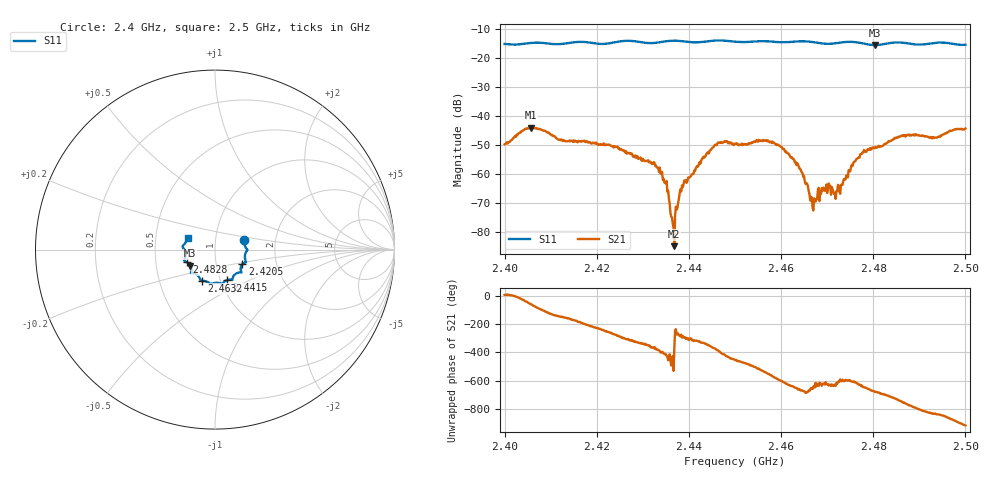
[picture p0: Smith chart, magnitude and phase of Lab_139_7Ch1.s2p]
# Hz S RI R 50
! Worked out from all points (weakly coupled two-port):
!   601 points, 2.4 GHz to 2.5 GHz, reference 50 ohm
!   highest |S21| = -44.12 dB at 2.4057 GHz (marker M1); lowest = -85.0 dB at 2.4368 GHz (marker M2)
!   lowest |S11| = -15.7 dB at 2.4803 GHz (marker M3), VSWR 1.39, Z = 37.4 - j6.85 ohm
!   |S11| at or under -10 dB: start of sweep to end of sweep
!   S12 and S22 are empty: the file has one direction only
!   S11 on the Smith chart (normalised r, x): 2.4 GHz: 1.38, +0.15; 2.4205 GHz: 1.34, -0.23; 2.4415 GHz: 1.07, -0.38; 2.4632 GHz: 0.82, -0.29; 2.4828 GHz: 0.72, -0.10; 2.5 GHz: 0.73, +0.10
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2.4e9  0.1635 0.0517  0.00318 0.000311  0 0  0 0
2.405667e9  0.1783 0.00179  0.00314 -0.00537  0 0  0 0
2.416667e9  0.1729 -0.0699  -0.00349 0.000675  0 0  0 0
2.4205e9  0.152 -0.0818  -0.00181 0.00256  0 0  0 0
2.433333e9  0.1006 -0.1514  0.00117 -0.00049  0 0  0 0
2.435e9  0.0975 -0.1638  0.000389 -0.000554  0 0  0 0
2.436333e9  0.0971 -0.169  -5.79e-05 -0.000166  0 0  0 0
2.436833e9  0.0966 -0.1695  5.56e-05 -9.87e-06  0 0  0 0
2.4385e9  0.0911 -0.1687  0.000286 0.000563  0 0  0 0
2.4415e9  0.0654 -0.1706  0.000936 0.000839  0 0  0 0
2.446e9  0.0414 -0.1922  0.00285 -0.00119  0 0  0 0
2.45e9  0.0244 -0.1864  -0.000263 -0.0032  0 0  0 0
2.457667e9  -0.0295 -0.1869  -0.0033 0.00129  0 0  0 0
2.463167e9  -0.073 -0.174  0.000581 0.00148  0 0  0 0
2.466667e9  -0.082 -0.1671  0.000163 0.000353  0 0  0 0
2.469333e9  -0.0932 -0.1466  -5.43e-05 0.000562  0 0  0 0
2.472333e9  -0.1216 -0.1309  -0.000175 0.000618  0 0  0 0
2.476167e9  -0.1335 -0.1273  -0.00047 0.00161  0 0  0 0
2.480333e9  -0.1377 -0.0892  0.00212 0.00173  0 0  0 0
2.482833e9  -0.1588 -0.07  0.00317 0.00095  0 0  0 0
2.483333e9  -0.1626 -0.0682  0.00357 0.000701  0 0  0 0
2.5e9  -0.1527 0.0646  -0.00572 0.00182  0 0  0 0
